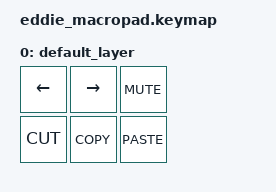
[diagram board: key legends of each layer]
// This file was generated from a template. Edit it to match your keyboard.
// See https://zmk.dev/docs/development/hardware-integration/new-shield for more instructions.

#include <behaviors.dtsi>
#include <dt-bindings/zmk/keys.h>

/ {
    // Define a default keymap here.
    // See https://zmk.dev/docs/development/hardware-integration/new-shield#default-keymap.
    keymap {
        compatible = "zmk,keymap";

        default_layer {
            bindings = <
                &kp LEFT    &kp RIGHT   &kp K_MUTE
                &kp K_CUT   &kp K_COPY  &kp K_PASTE
            >;
        };
    };
};
